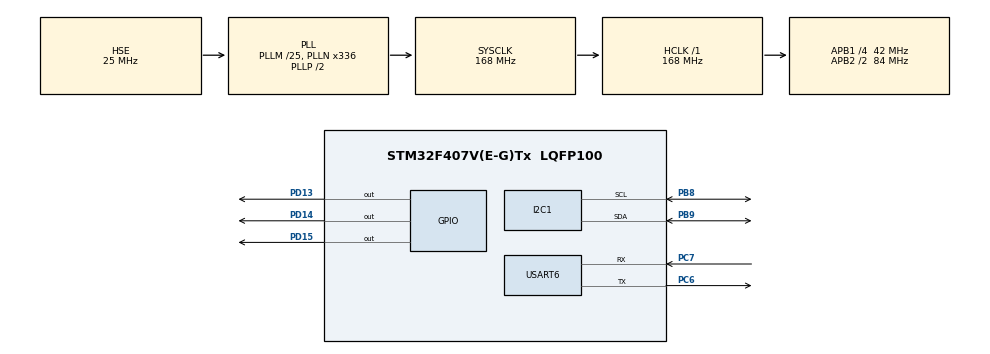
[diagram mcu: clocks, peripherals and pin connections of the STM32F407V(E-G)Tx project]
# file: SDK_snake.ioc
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FREERTOS.BinarySemaphores01=displaySem,Dynamic,NULL
FREERTOS.INCLUDE_vTaskDelayUntil=1
FREERTOS.Mutexes01=i2cMutex,Dynamic,NULL;gameMutex,Dynamic,NULL
FREERTOS.Queues01=keyQueue,8,uint8_t,0,Dynamic,NULL,NULL;soundQueue,4,uint8_t,0,Dynamic,NULL,NULL
FREERTOS.Tasks01=Task_Game,2,256,StartTaskGame,Default,NULL,Dynamic,NULL,NULL;Task_Keyboard,1,192,StartTaskKeyboard,Default,NULL,Dynamic,NULL,NULL;Task_Display,0,384,StartTaskDisplay,Default,NULL,Dynamic,NULL,NULL;Task_Sound,1,128,StartTaskSound,Default,NULL,Dynamic,NULL,NULL;Task_LED,-2,128,StartTaskLED,Default,NULL,Dynamic,NULL,NULL
FREERTOS.configTOTAL_HEAP_SIZE=32768
Mcu.Family=STM32F4
Mcu.Name=STM32F407V(E-G)Tx
Mcu.Package=LQFP100
NVIC.PriorityGroup=NVIC_PRIORITYGROUP_4
NVIC.TIM6_DAC_IRQn=true\:0\:0\:false\:false\:true\:false\:false\:true
NVIC.TimeBase=TIM6_DAC_IRQn
NVIC.TimeBaseIP=TIM6
PD13.Signal=GPIO_Output
PD14.Signal=GPIO_Output
PD15.Signal=GPIO_Output
PA13.Mode=JTAG_5_pins
PA13.Signal=SYS_JTMS-SWDIO
PA14.Mode=JTAG_5_pins
PA14.Signal=SYS_JTCK-SWCLK
PA15.Mode=JTAG_5_pins
PA15.Signal=SYS_JTDI
PB3.Mode=JTAG_5_pins
PB3.Signal=SYS_JTDO-SWO
PB4.Mode=JTAG_5_pins
PB4.Signal=SYS_JTRST
PB8.Mode=I2C
PB8.Signal=I2C1_SCL
PB9.Mode=I2C
PB9.Signal=I2C1_SDA
PC6.Mode=Asynchronous
PC6.Signal=USART6_TX
PC7.Mode=Asynchronous
PC7.Signal=USART6_RX
PH0-OSC_IN.Mode=HSE-External-Oscillator
PH0-OSC_IN.Signal=RCC_OSC_IN
PH1-OSC_OUT.Mode=HSE-External-Oscillator
PH1-OSC_OUT.Signal=RCC_OSC_OUT
ProjectManager.HeapSize=0x200
ProjectManager.StackSize=0x400
ProjectManager.TargetToolchain=STM32CubeIDE
RCC.48MHZClocksFreq_Value=84000000
RCC.AHBFreq_Value=168000000
RCC.APB1CLKDivider=RCC_HCLK_DIV4
RCC.APB1Freq_Value=42000000
RCC.APB1TimFreq_Value=84000000
RCC.APB2CLKDivider=RCC_HCLK_DIV2
RCC.APB2Freq_Value=84000000
RCC.APB2TimFreq_Value=168000000
RCC.CortexFreq_Value=168000000
RCC.HCLKFreq_Value=168000000
RCC.HSE_VALUE=25000000
RCC.HSI_VALUE=16000000
RCC.LSE_VALUE=32768
RCC.PLLM=25
RCC.PLLN=336
RCC.PLLSourceVirtual=RCC_PLLSOURCE_HSE
RCC.SYSCLKFreq_VALUE=168000000
RCC.SYSCLKSource=RCC_SYSCLKSOURCE_PLLCLK
RCC.VCOOutputFreq_Value=336000000
USART6.VirtualMode=VM_ASYNC
VP_FREERTOS_VS_CMSIS_V1.Mode=CMSIS_V1
VP_SYS_VS_tim6.Mode=TIM6
board=custom

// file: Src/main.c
/* USER CODE BEGIN Header */
/**
  ******************************************************************************
  * @file           : main.c
  * @brief          : Main program body
  ******************************************************************************
  * @attention
  *
  * <h2><center>&copy; Copyright (c) 2019 STMicroelectronics.
  * All rights reserved.</center></h2>
  *
  * This software component is licensed by ST under BSD 3-Clause license,
  * the "License"; You may not use this file except in compliance with the
  * License. You may obtain a copy of the License at:
  *                        opensource.org/licenses/BSD-3-Clause
  *
  ******************************************************************************
  */
/* USER CODE END Header */

#include "main.h"
#include "cmsis_os.h"
#include "i2c.h"
#include "usart.h"
#include "gpio.h"

/* USER CODE BEGIN Includes */
#include "kb.h"
#include "sdk_uart.h"
#include "pca9538.h"
#include "oled.h"
#include "fonts.h"
#include "buzzer.h"
/* USER CODE END Includes */

void SystemClock_Config(void);
void MX_FREERTOS_Init(void);

int main(void)
{

  /* MCU Configuration--------------------------------------------------------*/

  /* Reset of all peripherals, Initializes the Flash interface and the Systick. */
  HAL_Init();

  /* Configure the system clock */
  SystemClock_Config();

  /* Initialize all configured peripherals */
  MX_GPIO_Init();
  MX_I2C1_Init();
  MX_USART6_UART_Init();
  /* USER CODE BEGIN 2 */
  /* Внешние устройства настраиваются до запуска планировщика, пока к ним
   * не обращается ни одна задача. Дальше с дисплеем и клавиатурой работают
   * только задачи FreeRTOS (см. freertos.c). */
  oled_Init();
  Buzzer_Init();
  /* USER CODE END 2 */

  /* Call init function for freertos objects (in freertos.c) */
  MX_FREERTOS_Init();

  /* Start scheduler */
  osKernelStart();

  /* We should never get here as control is now taken by the scheduler */

  /* Infinite loop */
  while (1)
  {

  }
}

void SystemClock_Config(void)
{
  RCC_OscInitTypeDef RCC_OscInitStruct = {0};
  RCC_ClkInitTypeDef RCC_ClkInitStruct = {0};

  /** Configure the main internal regulator output voltage
  */
  __HAL_RCC_PWR_CLK_ENABLE();
  __HAL_PWR_VOLTAGESCALING_CONFIG(PWR_REGULATOR_VOLTAGE_SCALE1);
  /** Initializes the CPU, AHB and APB busses clocks
  */
  RCC_OscInitStruct.OscillatorType = RCC_OSCILLATORTYPE_HSE;
  RCC_OscInitStruct.HSEState = RCC_HSE_ON;
  RCC_OscInitStruct.PLL.PLLState = RCC_PLL_ON;
  RCC_OscInitStruct.PLL.PLLSource = RCC_PLLSOURCE_HSE;
  RCC_OscInitStruct.PLL.PLLM = 25;
  RCC_OscInitStruct.PLL.PLLN = 336;
  RCC_OscInitStruct.PLL.PLLP = RCC_PLLP_DIV2;
  RCC_OscInitStruct.PLL.PLLQ = 4;
  if (HAL_RCC_OscConfig(&RCC_OscInitStruct) != HAL_OK)
  {
    Error_Handler();
  }
  /** Initializes the CPU, AHB and APB busses clocks
  */
  RCC_ClkInitStruct.ClockType = RCC_CLOCKTYPE_HCLK|RCC_CLOCKTYPE_SYSCLK
                              |RCC_CLOCKTYPE_PCLK1|RCC_CLOCKTYPE_PCLK2;
  RCC_ClkInitStruct.SYSCLKSource = RCC_SYSCLKSOURCE_PLLCLK;
  RCC_ClkInitStruct.AHBCLKDivider = RCC_SYSCLK_DIV1;
  RCC_ClkInitStruct.APB1CLKDivider = RCC_HCLK_DIV4;
  RCC_ClkInitStruct.APB2CLKDivider = RCC_HCLK_DIV2;

  if (HAL_RCC_ClockConfig(&RCC_ClkInitStruct, FLASH_LATENCY_5) != HAL_OK)
  {
    Error_Handler();
  }
}

void HAL_TIM_PeriodElapsedCallback(TIM_HandleTypeDef *htim)
{
  if (htim->Instance == TIM6) {
    HAL_IncTick();
  }
}

void Error_Handler(void)
{
}

/************************ (C) COPYRIGHT STMicroelectronics *****END OF FILE****/

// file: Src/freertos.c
/* USER CODE BEGIN Header */
/**
  ******************************************************************************
  * File Name          : freertos.c
  * Description        : Code for freertos applications
  ******************************************************************************
  * @attention
  *
  * <h2><center>&copy; Copyright (c) 2020 STMicroelectronics.
  * All rights reserved.</center></h2>
  *
  * This software component is licensed by ST under Ultimate Liberty license
  * SLA0044, the "License"; You may not use this file except in compliance with
  * the License. You may obtain a copy of the License at:
  *                             www.st.com/SLA0044
  *
  ******************************************************************************
  */
/* USER CODE END Header */

#include "FreeRTOS.h"
#include "task.h"
#include "main.h"
#include "cmsis_os.h"

/* USER CODE BEGIN Includes */
#include <stdio.h>
#include "oled.h"
#include "kb_scan.h"
#include "sdk_uart.h"
#include "snake.h"
#include "snake_view.h"
#include "sound.h"
#include "leds.h"
/* USER CODE END Includes */

/* USER CODE BEGIN PD */
/* Период опроса клавиатуры. Опрос раз в 20 мс заодно подавляет дребезг:
 * контакт успевает успокоиться между двумя соседними опросами. */
#define KB_SCAN_PERIOD_MS   20

/* Период мигания зеленого светодиода «РАБОТА». */
#define LED_PERIOD_MS       250
/* USER CODE END PD */

/* USER CODE BEGIN Variables */
/* Состояние игры - общий ресурс задач Task_Game (изменяет его),
 * Task_Display (рисует по нему кадр) и Task_LED (читает режим игры).
 * Доступ на запись и рисование защищен мьютексом gameMutex. */
static snake_game_t game;
/* USER CODE END Variables */
osThreadId Task_GameHandle;
osThreadId Task_KeyboardHandle;
osThreadId Task_DisplayHandle;
osThreadId Task_SoundHandle;
osThreadId Task_LEDHandle;
osMessageQId keyQueueHandle;
osMessageQId soundQueueHandle;
osMutexId i2cMutexHandle;
osMutexId gameMutexHandle;
osSemaphoreId displaySemHandle;

/* USER CODE BEGIN FunctionPrototypes */
static snake_cmd_t Key_ToCommand(char key);
static void Request_Redraw(void);
static void Play_Sound(sound_id_t id);
static void Report_Event(snake_event_t event);
/* USER CODE END FunctionPrototypes */

void StartTaskGame(void const * argument);
void StartTaskKeyboard(void const * argument);
void StartTaskDisplay(void const * argument);
void StartTaskSound(void const * argument);
void StartTaskLED(void const * argument);

void MX_FREERTOS_Init(void); /* (MISRA C 2004 rule 8.1) */

/* GetIdleTaskMemory prototype (linked to static allocation support) */
void vApplicationGetIdleTaskMemory( StaticTask_t **ppxIdleTaskTCBBuffer, StackType_t **ppxIdleTaskStackBuffer, uint32_t *pulIdleTaskStackSize );

/* USER CODE BEGIN GET_IDLE_TASK_MEMORY */
static StaticTask_t xIdleTaskTCBBuffer;
static StackType_t xIdleStack[configMINIMAL_STACK_SIZE];

void vApplicationGetIdleTaskMemory( StaticTask_t **ppxIdleTaskTCBBuffer, StackType_t **ppxIdleTaskStackBuffer, uint32_t *pulIdleTaskStackSize )
{
  *ppxIdleTaskTCBBuffer = &xIdleTaskTCBBuffer;
  *ppxIdleTaskStackBuffer = &xIdleStack[0];
  *pulIdleTaskStackSize = configMINIMAL_STACK_SIZE;
  /* place for user code */
}
/* USER CODE END GET_IDLE_TASK_MEMORY */

void MX_FREERTOS_Init(void) {
  /* USER CODE BEGIN Init */
  /* Игра инициализируется до запуска планировщика, чтобы ни одна задача
   * не увидела ее в неопределенном состоянии. */
  Snake_Init(&game);
  /* USER CODE END Init */
  /* Create the mutex(es) */
  /* definition and creation of i2cMutex */
  osMutexDef(i2cMutex);
  i2cMutexHandle = osMutexCreate(osMutex(i2cMutex));

  /* definition and creation of gameMutex */
  osMutexDef(gameMutex);
  gameMutexHandle = osMutexCreate(osMutex(gameMutex));

  /* Create the semaphores(s) */
  /* definition and creation of displaySem */
  osSemaphoreDef(displaySem);
  displaySemHandle = osSemaphoreCreate(osSemaphore(displaySem), 1);

  /* Create the queue(s) */
  /* definition and creation of keyQueue */
  osMessageQDef(keyQueue, 8, uint8_t);
  keyQueueHandle = osMessageCreate(osMessageQ(keyQueue), NULL);

  /* definition and creation of soundQueue */
  osMessageQDef(soundQueue, 4, uint8_t);
  soundQueueHandle = osMessageCreate(osMessageQ(soundQueue), NULL);

  /* Create the thread(s) */
  /* definition and creation of Task_Game */
  osThreadDef(Task_Game, StartTaskGame, osPriorityHigh, 0, 256);
  Task_GameHandle = osThreadCreate(osThread(Task_Game), NULL);

  /* definition and creation of Task_Keyboard */
  osThreadDef(Task_Keyboard, StartTaskKeyboard, osPriorityAboveNormal, 0, 192);
  Task_KeyboardHandle = osThreadCreate(osThread(Task_Keyboard), NULL);

  /* definition and creation of Task_Display */
  osThreadDef(Task_Display, StartTaskDisplay, osPriorityNormal, 0, 384);
  Task_DisplayHandle = osThreadCreate(osThread(Task_Display), NULL);

  /* definition and creation of Task_Sound */
  osThreadDef(Task_Sound, StartTaskSound, osPriorityAboveNormal, 0, 128);
  Task_SoundHandle = osThreadCreate(osThread(Task_Sound), NULL);

  /* definition and creation of Task_LED */
  osThreadDef(Task_LED, StartTaskLED, osPriorityLow, 0, 128);
  Task_LEDHandle = osThreadCreate(osThread(Task_LED), NULL);

  /* USER CODE BEGIN RTOS_THREADS */
  /* Имена объектов видны в отладчике (FreeRTOS Task List / Queues). */
  vQueueAddToRegistry(keyQueueHandle, "keyQueue");
  vQueueAddToRegistry(soundQueueHandle, "soundQueue");
  vQueueAddToRegistry(i2cMutexHandle, "i2cMutex");
  vQueueAddToRegistry(gameMutexHandle, "gameMutex");
  vQueueAddToRegistry(displaySemHandle, "displaySem");
  /* USER CODE END RTOS_THREADS */

}

/* USER CODE BEGIN Header_StartTaskGame */
/**
  * @brief  Игровая логика. Ждет события клавиатуры из очереди keyQueue с
  *         таймаутом до следующего шага змейки: пришла клавиша - выполняет
  *         команду, истек таймаут - делает шаг. О каждом изменении сообщает
  *         задаче дисплея (семафор displaySem) и звуковой задаче (soundQueue).
  * @param  argument: Not used
  * @retval None
  */
/* USER CODE END Header_StartTaskGame */
void StartTaskGame(void const * argument)
{
  /* USER CODE BEGIN StartTaskGame */
  uint32_t nextStepTick = 0;
  osEvent keyEvent;
  snake_event_t event;

  Request_Redraw(); /* показать стартовый экран */

  /* Infinite loop */
  for(;;)
  {
    /* Только эта задача изменяет game, поэтому сама она может читать
     * состояние без мьютекса. */
    uint32_t timeout = osWaitForever;
    if (game.state == SNAKE_STATE_PLAYING) {
      int32_t left = (int32_t)(nextStepTick - osKernelSysTick());
      timeout = (left > 0) ? (uint32_t)left : 0;
    }

    keyEvent = osMessageGet(keyQueueHandle, timeout);

    if (keyEvent.status == osEventMessage) {
      snake_cmd_t cmd = Key_ToCommand((char)keyEvent.value.v);

      osMutexWait(gameMutexHandle, osWaitForever);
      Snake_AddEntropy(&game, osKernelSysTick());
      event = Snake_Command(&game, cmd);
      osMutexRelease(gameMutexHandle);

      if (event == SNAKE_EV_STARTED || event == SNAKE_EV_RESUMED) {
        nextStepTick = osKernelSysTick() + Snake_StepPeriodMs(&game);
      }
    } else if (game.state == SNAKE_STATE_PLAYING) {
      osMutexWait(gameMutexHandle, osWaitForever);
      event = Snake_Step(&game);
      osMutexRelease(gameMutexHandle);

      nextStepTick += Snake_StepPeriodMs(&game);
    } else {
      continue;
    }

    if (event != SNAKE_EV_NONE) {
      Request_Redraw();
      Report_Event(event);
    }
  }
  /* USER CODE END StartTaskGame */
}

/* USER CODE BEGIN Header_StartTaskKeyboard */
/**
  * @brief  Каждые 20 мс опрашивает матричную клавиатуру и кладет коды новых
  *         нажатий в очередь keyQueue. Клавиатура и дисплей подключены к
  *         одной шине I2C1, поэтому опрос выполняется под мьютексом i2cMutex.
  * @param  argument: Not used
  * @retval None
  */
/* USER CODE END Header_StartTaskKeyboard */
void StartTaskKeyboard(void const * argument)
{
  /* USER CODE BEGIN StartTaskKeyboard */
  uint32_t wakeTime = osKernelSysTick();
  char key;

  /* Infinite loop */
  for(;;)
  {
    osMutexWait(i2cMutexHandle, osWaitForever);
    key = KB_GetKeyEvent();
    osMutexRelease(i2cMutexHandle);

    if (key) {
      osMessagePut(keyQueueHandle, (uint32_t)key, 0);
    }
    osDelayUntil(&wakeTime, KB_SCAN_PERIOD_MS);
  }
  /* USER CODE END StartTaskKeyboard */
}

/* USER CODE BEGIN Header_StartTaskDisplay */
/**
  * @brief  Ждет семафор displaySem, рисует кадр по состоянию игры и передает
  *         его на OLED-дисплей. Если за время передачи кадра игра изменилась
  *         несколько раз, семафор остается взведенным один раз и следующим
  *         рисуется самое свежее состояние.
  * @param  argument: Not used
  * @retval None
  */
/* USER CODE END Header_StartTaskDisplay */
void StartTaskDisplay(void const * argument)
{
  /* USER CODE BEGIN StartTaskDisplay */
  /* Infinite loop */
  for(;;)
  {
    osSemaphoreWait(displaySemHandle, osWaitForever);

    /* Кадр рисуется в буфер в ОЗУ быстро, пока держится мьютекс игры... */
    osMutexWait(gameMutexHandle, osWaitForever);
    SnakeView_Draw(&game);
    osMutexRelease(gameMutexHandle);

    /* ...а долгая передача по I2C идет уже без него, чтобы не задерживать
     * игровую логику. Оба мьютекса никогда не удерживаются одновременно,
     * поэтому взаимоблокировка невозможна. Кадр передается по страницам
     * (8 строк точек), причем только изменившимися, а шина захватывается
     * на одну страницу, чтобы опрос клавиатуры не ждал весь кадр. */
    for (uint8_t page = 0; page < OLED_PAGES; page++) {
      osMutexWait(i2cMutexHandle, osWaitForever);
      oled_UpdatePage(page);
      osMutexRelease(i2cMutexHandle);
    }
  }
  /* USER CODE END StartTaskDisplay */
}

/* USER CODE BEGIN Header_StartTaskSound */
/**
  * @brief  Проигрывает звуковые эффекты из очереди soundQueue. Мелодии
  *         звучат в отдельной задаче, поэтому не задерживают игру.
  * @param  argument: Not used
  * @retval None
  */
/* USER CODE END Header_StartTaskSound */
void StartTaskSound(void const * argument)
{
  /* USER CODE BEGIN StartTaskSound */
  osEvent soundEvent;

  /* Infinite loop */
  for(;;)
  {
    soundEvent = osMessageGet(soundQueueHandle, osWaitForever);
    if (soundEvent.status == osEventMessage) {
      Sound_Play((sound_id_t)soundEvent.value.v);
    }
  }
  /* USER CODE END StartTaskSound */
}

/* USER CODE BEGIN Header_StartTaskLED */
/**
  * @brief  Задача с низшим приоритетом: мигает зеленым светодиодом «РАБОТА»
  *         (планировщик работает и процессор не перегружен) и показывает режим
  *         игры светодиодом «РЕЖИМ»: желтый - пауза, красный - игра окончена.
  * @param  argument: Not used
  * @retval None
  */
/* USER CODE END Header_StartTaskLED */
void StartTaskLED(void const * argument)
{
  /* USER CODE BEGIN StartTaskLED */
  snake_state_t state;

  /* Infinite loop */
  for(;;)
  {
    Leds_ToggleWork();

    /* Чтение одной переменной выполняется одной инструкцией и атомарно,
     * поэтому для него мьютекс не нужен. */
    state = game.state;
    if (state == SNAKE_STATE_PAUSED) {
      Leds_SetMode(LED_MODE_YELLOW);
    } else if (state == SNAKE_STATE_OVER) {
      Leds_SetMode(LED_MODE_RED);
    } else {
      Leds_SetMode(LED_MODE_OFF);
    }

    osDelay(LED_PERIOD_MS);
  }
  /* USER CODE END StartTaskLED */
}

/* USER CODE BEGIN Application */
/* Раскладка клавиатуры (см. kb_scan.h) и назначение клавиш в игре:
 *   1 [2] 3        2, 4, 6, 8 - движение вверх, влево, вправо, вниз;
 *  [4][5][6]       5 - пауза / продолжить;
 *   7 [8] 9        # - начать игру;
 *  [*] 0 [#]       * - режим стен в меню, выход в меню из паузы и после игры. */
static snake_cmd_t Key_ToCommand(char key)
{
  switch (key) {
  case '2': return SNAKE_CMD_UP;
  case '8': return SNAKE_CMD_DOWN;
  case '4': return SNAKE_CMD_LEFT;
  case '6': return SNAKE_CMD_RIGHT;
  case '5': return SNAKE_CMD_PAUSE;
  case '#': return SNAKE_CMD_START;
  case '*': return SNAKE_CMD_OPTION;
  default:  return SNAKE_CMD_NONE;
  }
}

/* Двоичный семафор не накапливает повторные «выдачи», поэтому лишние
 * запросы перерисовки, пока задача дисплея занята, просто сливаются в один. */
static void Request_Redraw(void)
{
  osSemaphoreRelease(displaySemHandle);
}

/* Очередь звуков короткая: если она заполнена, звук пропускается, а игра
 * не ждет звуковую задачу. */
static void Play_Sound(sound_id_t id)
{
  osMessagePut(soundQueueHandle, (uint32_t)id, 0);
}

/* Звуковая реакция на события игры и диагностические сообщения в UART6. */
static void Report_Event(snake_event_t event)
{
  char msg[48];

  switch (event) {
  case SNAKE_EV_STARTED:
    Play_Sound(SOUND_START);
    snprintf(msg, sizeof(msg), "Game started, walls %s\r\n", game.wallsOn ? "ON" : "OFF");
    UART_Transmit((uint8_t *)msg);
    break;

  case SNAKE_EV_ATE:
    Play_Sound(SOUND_EAT);
    snprintf(msg, sizeof(msg), "Score: %u\r\n", game.score);
    UART_Transmit((uint8_t *)msg);
    break;

  case SNAKE_EV_CRASHED:
  case SNAKE_EV_WON:
    Play_Sound(event == SNAKE_EV_WON ? SOUND_WIN : SOUND_GAME_OVER);
    snprintf(msg, sizeof(msg), "%s Score: %u, best: %u\r\n",
             event == SNAKE_EV_WON ? "You win!" : "Game over.", game.score, game.best);
    UART_Transmit((uint8_t *)msg);
    break;

  case SNAKE_EV_PAUSED:
  case SNAKE_EV_RESUMED:
  case SNAKE_EV_MODE:
  case SNAKE_EV_MENU:
    Play_Sound(SOUND_CLICK);
    break;

  default:
    break;
  }
}
/* USER CODE END Application */

/************************ (C) COPYRIGHT STMicroelectronics *****END OF FILE****/
